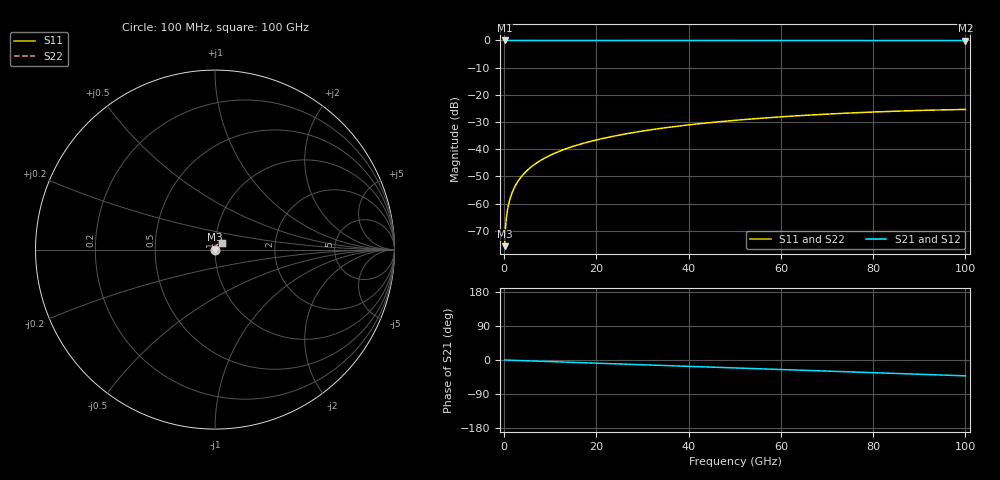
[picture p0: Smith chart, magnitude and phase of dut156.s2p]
! Touchstone file exported from HFSS 2026.1.0
!  File:  C:/ffzhzh/LocalFiles/Ansys_Project_Files/temp_train_TSV_156_1783506694_44152.aedt
!  Generated:  06:32:50 PM Jul  8, 2026
!  Design:  TSV
!  Project:  temp_train_TSV_156_1783506694_44152
! Variables:
!  h_bsmrdl = 2um
!  h_ox = 20um
!  h_rdl = 5um
!  h_sub = 82.5um
!  h_tmrdl = 5um
!  h_tsv = 82.5um
!  h_via = 3um
!  l_bsmrdl = 300um
!  l_sub = 421.36um
!  l_tmrdl = 200um
!  m_sub = 200um
!  pitch = 48.26um
!  r_tsv = 10.68um
!  s_tmrdl = 10um
!  w_bsmrdl = 18um
!  w_sub = 500um
!  w_tmrdl = 12um
!  x_tsv_center1 = 206um
!  x_tsv_center2 = 524um
!  x_tsv_center3 = 736um
!  x_tsv_center4 = 1054um
!  x_tsv_center5 = 1266um
!  x_tsv_center6 = 1584um
# GHz S MA R 50.000000
! Terminal data exported
! Port[1] = TSV1_1_T1
! Port[2] = TSV1_1_T2
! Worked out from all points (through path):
!   1000 points, 100 MHz to 100 GHz, reference 50 ohm
!   highest |S21| = 0.00 dB at 100 MHz (marker M1); lowest = 0.0 dB at 100 GHz (marker M2)
!   group delay of S21, straight-line fit = 1.16 ps
!   lowest |S11| = -75.6 dB at 100 MHz (marker M3), VSWR 1.00, Z = 50 + j0.0117 ohm
!   |S11| at or under -10 dB: start of sweep to end of sweep
!   |S22| runs from -75.6 to -25.4 dB; largest |S21 - S12| = 7.9e-15
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0.1  0.0001651 44.9  0.9999 -0.0  0.9999 -0.0  0.0001651 44.9
! Gamma 0 0 0 0
! Port Impedance 50 0 50 0
0.4  0.0004686 68.6  0.9998 -0.2  0.9998 -0.2  0.0004686 68.6
0.7  0.0007449 71.7  0.9998 -0.3  0.9998 -0.3  0.0007449 71.7
0.8  0.0008308 72.3  0.9998 -0.3  0.9998 -0.3  0.0008308 72.3
1  0.0009981 73.4  0.9997 -0.4  0.9997 -0.4  0.0009981 73.4
1.3  0.001243 74.8  0.9997 -0.6  0.9997 -0.6  0.001243 74.8
1.8  0.001644 76.3  0.9996 -0.8  0.9996 -0.8  0.001644 76.3
2.4  0.002118 77.4  0.9996 -1.0  0.9996 -1.0  0.002118 77.4
3.1  0.002659 78.2  0.9995 -1.3  0.9995 -1.3  0.002659 78.2
3.9  0.003267 78.7  0.9994 -1.7  0.9994 -1.7  0.003267 78.7
4.9  0.004015 79.2  0.9994 -2.1  0.9994 -2.1  0.004015 79.2
6.1  0.004905 79.4  0.9993 -2.6  0.9993 -2.6  0.004905 79.4
8.9  0.006955 79.4  0.9992 -3.7  0.9992 -3.7  0.006955 79.5
12.4  0.009477 78.8  0.999 -5.2  0.999 -5.2  0.009477 78.8
16.8  0.01259 77.7  0.9988 -7.0  0.9988 -7.0  0.01259 77.7
24.2  0.0177 75.4  0.9985 -10.1  0.9985 -10.1  0.0177 75.4
33.4  0.02382 72.2  0.9981 -14.0  0.9981 -14.0  0.02382 72.2
41.2  0.02875 69.3  0.9978 -17.2  0.9978 -17.2  0.02875 69.3
50.1  0.03403 65.8  0.9974 -20.9  0.9974 -20.9  0.03403 65.9
66.7  0.0427 59.3  0.9968 -27.8  0.9968 -27.8  0.0427 59.3
83.4  0.04955 52.5  0.9961 -34.8  0.9961 -34.8  0.04955 52.5
100  0.05394 45.8  0.9955 -41.8  0.9955 -41.8  0.05394 45.8
